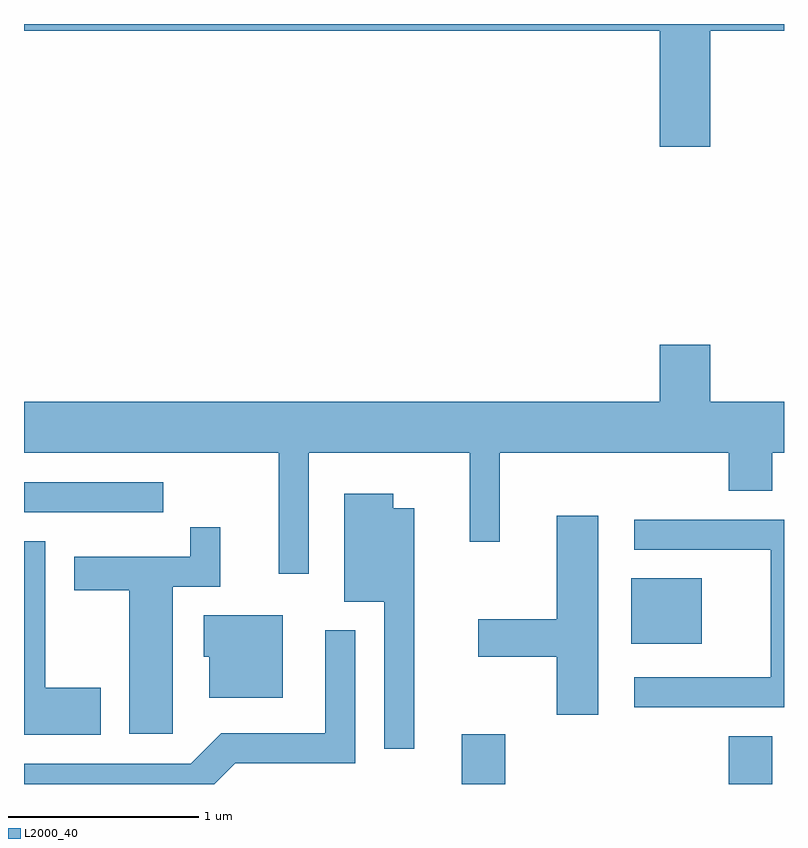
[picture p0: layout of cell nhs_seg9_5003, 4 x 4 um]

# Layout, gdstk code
import gdstk
lib = gdstk.Library(unit=1e-6, precision=1e-09)
def R(c, l, rs):  # rectangles x0, y0, x1, y1
    for r in rs: c.add(gdstk.rectangle(r[:2], r[2:], *l))
def P(c, l, *ps):  # polygons
    for p in ps: c.add(gdstk.Polygon(p, *l))
L2000_40 = (2000, 40)

nhs_seg9_5003 = lib.new_cell('nhs_seg9_5003')
R(nhs_seg9_5003, L2000_40, [(333.916,2074.432,334.144,2074.694), (335.321,2074.432,335.549,2074.684), (334.806,2075.171,335.179,2075.514), (331.611,2075.861,332.343,2076.019)])
P(nhs_seg9_5003, L2000_40, [(335.224,2078.396),(335.611,2078.396),(335.611,2078.432),(331.611,2078.432),(331.611,2078.396),(334.956,2078.396),(334.956,2077.786),(335.224,2077.786)],
  [(333.109,2076.176),(333.956,2076.176),(333.956,2075.708),(334.114,2075.708),(334.114,2076.176),(335.321,2076.176),(335.321,2075.976),(335.549,2075.976),(335.549,2076.176),(335.611,2076.176),(335.611,2076.444),(335.224,2076.444),(335.224,2076.744),(334.956,2076.744),(334.956,2076.444),(331.611,2076.444),(331.611,2076.176),(332.951,2076.176),(332.951,2075.538),(333.109,2075.538)],
  [(333.664,2075.884),(333.554,2075.884),(333.554,2075.959),(333.296,2075.959),(333.296,2075.391),(333.506,2075.391),(333.506,2074.617),(333.664,2074.617)],
  [(334.634,2075.844),(334.416,2075.844),(334.416,2075.299),(334.001,2075.299),(334.001,2075.101),(334.416,2075.101),(334.416,2074.796),(334.634,2074.796)],
  [(335.611,2075.824),(334.823,2075.824),(334.823,2075.666),(335.541,2075.666),(335.541,2074.994),(334.823,2074.994),(334.823,2074.836),(335.611,2074.836)],
  [(332.394,2075.471),(332.644,2075.471),(332.644,2075.783),(332.486,2075.783),(332.486,2075.629),(331.876,2075.629),(331.876,2075.451),(332.166,2075.451),(332.166,2074.696),(332.394,2074.696)],
  [(332.014,2074.939),(331.724,2074.939),(331.724,2075.709),(331.611,2075.709),(331.611,2074.691),(332.014,2074.691)],
  [(332.974,2075.319),(332.556,2075.319),(332.556,2075.101),(332.586,2075.101),(332.586,2074.886),(332.974,2074.886)],
  [(332.722,2074.541),(333.354,2074.541),(333.354,2075.242),(333.196,2075.242),(333.196,2074.699),(332.649,2074.699),(332.489,2074.539),(331.611,2074.539),(331.611,2074.432),(332.613,2074.432)])

lib.write_gds('nhs_seg9_5003.gds')
